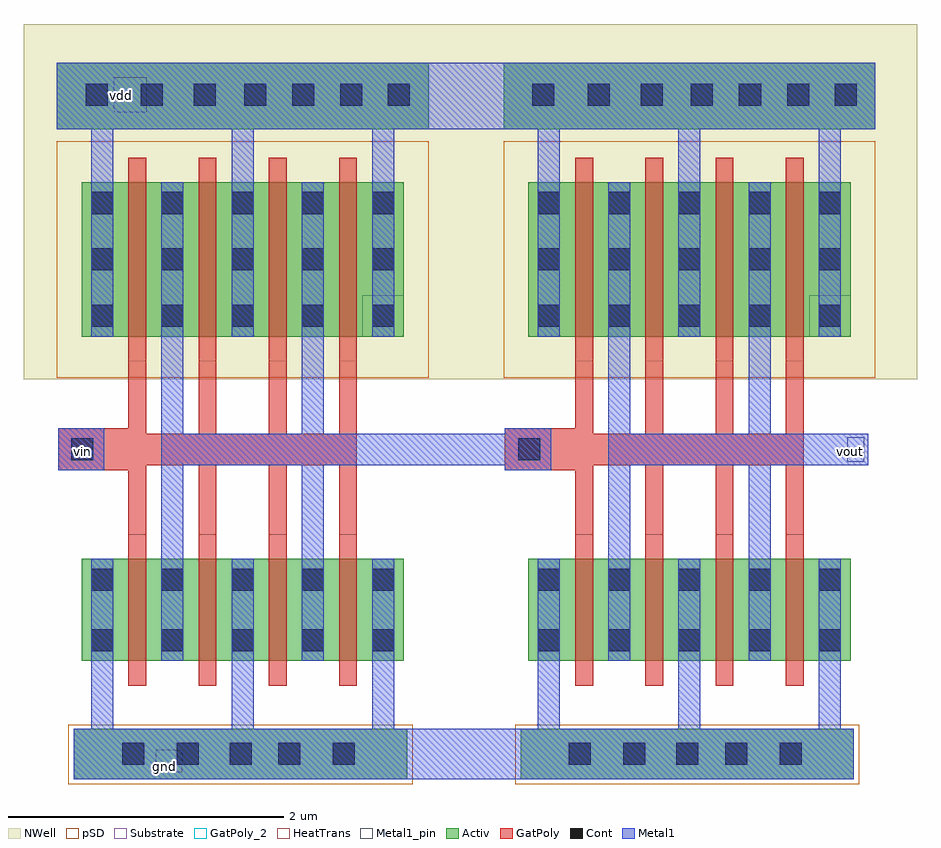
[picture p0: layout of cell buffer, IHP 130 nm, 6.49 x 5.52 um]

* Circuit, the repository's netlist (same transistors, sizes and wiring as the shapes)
* Extracted by KLayout with SG13G2 LVS runset on : 18/05/2026 12:18

.SUBCKT buffer gnd vout vin vdd
M$1 gnd vin \$2 gnd sg13_lv_nmos L=0.13u W=2.96u AS=0.6734p AD=0.6734p PS=5.52u
+ PD=5.52u
M$5 gnd \$2 vout gnd sg13_lv_nmos L=0.13u W=2.96u AS=0.6734p AD=0.6734p
+ PS=5.52u PD=5.52u
M$9 vdd vin \$2 vdd sg13_lv_pmos L=0.13u W=4.48u AS=1.0192p AD=1.0192p PS=7.42u
+ PD=7.42u
M$13 vdd \$2 vout vdd sg13_lv_pmos L=0.13u W=4.48u AS=1.0192p AD=1.0192p
+ PS=7.42u PD=7.42u
.ENDS buffer

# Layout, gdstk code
import gdstk
lib = gdstk.Library(unit=1e-6, precision=1e-09)
def R(c, l, rs):  # rectangles x0, y0, x1, y1
    for r in rs: c.add(gdstk.rectangle(r[:2], r[2:], *l))
def A(c, l, x, y, w, h, nx, ny, dx, dy):  # array of equal rectangles
    R(c, l, [(x+i*dx, y+j*dy, x+i*dx+w, y+j*dy+h) for i in range(nx) for j in range(ny)])
def P(c, l, *ps):  # polygons
    for p in ps: c.add(gdstk.Polygon(p, *l))
Activ = (1, 0)
GatPoly = (5, 0)
GatPoly_2 = (5, 2)
Cont = (6, 0)
Metal1 = (8, 0)
Metal1_pin = (8, 2)
pSD = (14, 0)
NWell = (31, 0)
Substrate = (40, 0)
HeatTrans = (51, 0)

pmos_1 = lib.new_cell('pmos$1')
A(pmos_1, Activ, 0, 0, 0.3, 0.3, 5, 1, 0.51, 0)
R(pmos_1, Activ, [(0,0,2.34,1.12)])
A(pmos_1, GatPoly, 0.34, -0.18, 0.13, 1.48, 4, 1, 0.51, 0)
R(pmos_1, GatPoly, [(0.34,-0.18,0.47,1.3)])
A(pmos_1, Cont, 0.07, 0.07, 0.16, 0.16, 5, 3, 0.51, 0.41)
A(pmos_1, Metal1, 0.58, 0, 0.16, 1.12, 4, 1, 0.51, 0)
R(pmos_1, Metal1, [(0.07,0,0.23,1.12), (0.07,0,0.23,1.12), (0.58,0,0.74,1.12)])
R(pmos_1, pSD, [(-0.18,-0.3,2.52,1.42)])
R(pmos_1, NWell, [(-0.31,-0.31,2.65,1.43)])
R(pmos_1, Substrate, [(2.04,0,2.34,0.3)])
A(pmos_1, HeatTrans, 0.34, -0.18, 0.13, 1.48, 4, 1, 0.51, 0)
pmos_1.add(gdstk.Label('pmos', (0.405,0.56), layer=63, texttype=0))
pmos_1.add(gdstk.Label('pmos', (0.405,0.56), layer=51, texttype=0))
pmos_1.add(gdstk.Label('pmos', (0.915,0.56), layer=51, texttype=0))
pmos_1.add(gdstk.Label('pmos', (1.425,0.56), layer=51, texttype=0))
pmos_1.add(gdstk.Label('pmos', (1.935,0.56), layer=51, texttype=0))

nmos_1 = lib.new_cell('nmos$1')
A(nmos_1, Activ, 0, 0, 0.3, 0.3, 5, 1, 0.51, 0)
R(nmos_1, Activ, [(0,0,2.34,0.74)])
A(nmos_1, GatPoly, 0.34, -0.18, 0.13, 1.1, 4, 1, 0.51, 0)
R(nmos_1, GatPoly_2, [(0.34,-0.18,0.47,0.92)])
A(nmos_1, Cont, 0.07, 0.07, 0.16, 0.16, 5, 2, 0.51, 0.44)
A(nmos_1, Metal1, 0.07, 0, 0.16, 0.74, 5, 1, 0.51, 0)
R(nmos_1, Metal1_pin, [(0.07,0,0.23,0.74), (0.58,0,0.74,0.74)])
A(nmos_1, HeatTrans, 0.34, -0.18, 0.13, 1.1, 4, 1, 0.51, 0)
nmos_1.add(gdstk.Label('nmos', (0.405,0.37), layer=63, texttype=0))
nmos_1.add(gdstk.Label('nmos', (0.405,0.37), layer=51, texttype=0))
nmos_1.add(gdstk.Label('nmos', (0.915,0.37), layer=51, texttype=0))
nmos_1.add(gdstk.Label('nmos', (1.425,0.37), layer=51, texttype=0))
nmos_1.add(gdstk.Label('nmos', (1.935,0.37), layer=51, texttype=0))

buffer = lib.new_cell('buffer')
R(buffer, Activ, [(-0.285,-2.98,2.135,-2.615), (2.96,-2.98,5.38,-2.615), (-0.41,1.74,2.29,2.225), (2.835,1.74,5.535,2.225)])
R(buffer, GatPoly, [(-0.4,-0.735,0.12,-0.43), (2.845,-0.735,3.365,-0.43), (-0.4,-0.72,0.12,-0.43), (2.845,-0.72,3.365,-0.43)])
P(buffer, GatPoly, [(4.375,-1.3),(4.375,-0.7),(3.995,-0.7),(3.995,-1.25),(3.865,-1.25),(3.865,-0.7),(3.485,-0.7),(3.485,-1.25),(3.355,-1.25),(3.355,-0.7),(2.895,-0.7),(2.895,-0.47),(3.355,-0.47),(3.355,0.13),(3.485,0.13),(3.485,-0.47),(3.865,-0.47),(3.865,0.105),(3.995,0.105),(3.995,-0.47),(4.375,-0.47),(4.375,0.13),(4.505,0.13),(4.505,-0.47),(4.885,-0.47),(4.885,0.145),(5.015,0.145),(5.015,-1.3),(4.885,-1.3),(4.885,-0.7),(4.505,-0.7),(4.505,-1.3)],
  [(1.13,-1.3),(1.13,-0.7),(0.75,-0.7),(0.75,-1.25),(0.62,-1.25),(0.62,-0.7),(0.24,-0.7),(0.24,-1.25),(0.11,-1.25),(0.11,-0.7),(-0.35,-0.7),(-0.35,-0.47),(0.11,-0.47),(0.11,0.13),(0.24,0.13),(0.24,-0.47),(0.62,-0.47),(0.62,0.105),(0.75,0.105),(0.75,-0.47),(1.13,-0.47),(1.13,0.13),(1.26,0.13),(1.26,-0.47),(1.64,-0.47),(1.64,0.145),(1.77,0.145),(1.77,-1.3),(1.64,-1.3),(1.64,-0.7),(1.26,-0.7),(1.26,-1.3)])
A(buffer, Cont, 0.95, 1.91, 0.16, 0.16, 3, 1, 0.35, 0)
A(buffer, Cont, 4.195, 1.91, 0.16, 0.16, 3, 1, 0.35, 0)
R(buffer, Cont, [(0.065,-2.875,0.225,-2.715), (0.46,-2.875,0.62,-2.715), (0.845,-2.875,1.005,-2.715), (1.2,-2.875,1.36,-2.715), (1.595,-2.875,1.755,-2.715), (3.31,-2.875,3.47,-2.715), (3.705,-2.875,3.865,-2.715), (4.09,-2.875,4.25,-2.715), (4.445,-2.875,4.605,-2.715), (4.84,-2.875,5,-2.715), (-0.305,-0.665,-0.145,-0.505), (2.94,-0.665,3.1,-0.505), (-0.2,1.91,-0.04,2.07), (0.2,1.91,0.36,2.07), (0.585,1.91,0.745,2.07), (1.995,1.91,2.155,2.07), (3.045,1.91,3.205,2.07), (3.445,1.91,3.605,2.07), (3.83,1.91,3.99,2.07), (5.24,1.91,5.4,2.07)])
A(buffer, Metal1, -0.16, -2.98, 0.16, 1.09, 3, 1, 1.02, 0)
A(buffer, Metal1, 3.085, -2.98, 0.16, 1.09, 3, 1, 1.02, 0)
A(buffer, Metal1, -0.16, 1.285, 0.16, 0.575, 3, 1, 1.02, 0)
A(buffer, Metal1, 3.085, 1.285, 0.16, 0.575, 3, 1, 1.02, 0)
R(buffer, Metal1, [(-0.285,-2.98,2.135,-2.615), (1.88,-2.98,3.245,-2.615), (2.96,-2.98,5.38,-2.615), (0.35,-1.45,0.51,0.305), (1.37,-1.45,1.53,0.305), (3.595,-1.45,3.755,0.305), (4.615,-1.45,4.775,0.305), (-0.4,-0.735,-0.065,-0.43), (2.845,-0.735,3.18,-0.43), (0.35,-0.7,1.53,-0.47), (1.37,-0.7,2.24,-0.47), (2.1,-0.7,3.045,-0.47), (3.595,-0.7,4.775,-0.47), (4.615,-0.7,5.485,-0.47), (-0.41,1.74,2.29,2.225), (2.225,1.74,2.9,2.225), (2.835,1.74,5.535,2.225)])
R(buffer, Metal1_pin, [(0.31,-2.93,0.5,-2.765), (5.33,-0.675,5.455,-0.495), (-0.305,-0.665,-0.145,-0.505), (0.005,1.865,0.245,2.12)])
R(buffer, pSD, [(-0.325,-3.015,2.175,-2.585), (2.92,-3.015,5.42,-2.585)])
R(buffer, NWell, [(-0.65,-0.075,2.595,2.505), (2.595,-0.075,5.84,2.505)])
buffer.add(gdstk.Reference(pmos_1, (-0.23,0.235)))
buffer.add(gdstk.Reference(nmos_1, (-0.23,-2.12)))
buffer.add(gdstk.Reference(pmos_1, (3.015,0.235)))
buffer.add(gdstk.Reference(nmos_1, (3.015,-2.12)))
buffer.add(gdstk.Label('vout', (5.355,-0.6), layer=8, texttype=25))
buffer.add(gdstk.Label('vdd', (0.06,1.985), layer=8, texttype=25))
buffer.add(gdstk.Label('gnd', (0.375,-2.885), layer=8, texttype=25))
buffer.add(gdstk.Label('vin', (-0.22,-0.6), layer=8, texttype=25))

lib.write_gds('buffer.gds')
